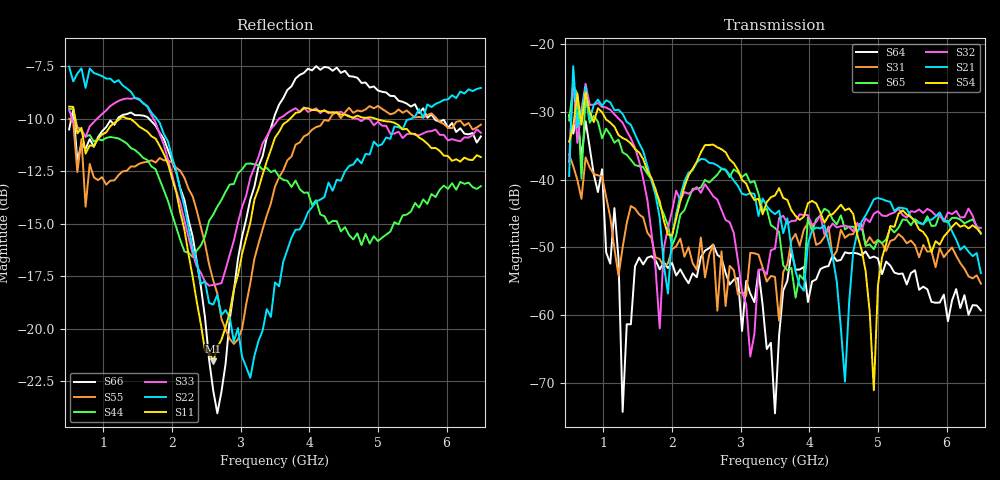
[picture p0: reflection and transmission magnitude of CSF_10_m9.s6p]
!Keysight Technologies,M9804A,MY58100912,A.14.10.03
!Date: Thursday, April 27, 2023 10:28:33
!Correction: S11(C  6-Port  )
!S12(C  6-Port  )
!S13(C  6-Port  )
!S14(C  6-Port  )
!S15(C  6-Port  )
!S16(C  6-Port  )
!S21(C  6-Port  )
!S22(C  6-Port  )
!S23(C  6-Port  )
!S24(C  6-Port  )
!S25(C  6-Port  )
!S26(C  6-Port  )
!S31(C  6-Port  )
!S32(C  6-Port  )
!S33(C  6-Port  )
!S34(C  6-Port  )
!S35(C  6-Port  )
!S36(C  6-Port  )
!S41(C  6-Port  )
!S42(C  6-Port  )
!S43(C  6-Port  )
!S44(C  6-Port  )
!S45(C  6-Port  )
!S46(C  6-Port  )
!S51(C  6-Port  )
!S52(C  6-Port  )
!S53(C  6-Port  )
!S54(C  6-Port  )
!S55(C  6-Port  )
!S56(C  6-Port  )
!S61(C  6-Port  )
!S62(C  6-Port  )
!S63(C  6-Port  )
!S64(C  6-Port  )
!S65(C  6-Port  )
!S66(C  6-Port  )
!S6P File: Measurement: :
# Hz S  RI  R 50
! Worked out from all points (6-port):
!   101 points, 500 MHz to 6.5 GHz, reference 50 ohm
!   strongest paths, dB at 500 MHz, 2 GHz, 3.5 GHz, 5 GHz, 6.5 GHz:
!     S54: -34.4, -48.3, -42.4, -55.6, -47.9
!     S21: -39.5, -48.3, -45.1, -42.7, -53.8
!     S32: -37.3, -44.6, -50.2, -44.7, -47.1
!     S65: -31.2, -49.8, -47.2, -48.9, -48.0
!     S31: -36.3, -50.3, -54.4, -48.9, -55.4
!     S64: -30.5, -52.3, -74.5, -51.7, -59.3
!   lowest |S11| = -21.5 dB at 2.6 GHz (marker M1), VSWR 1.18, Z = 42.5 + j2.1 ohm
!   |S11| at or under -10 dB: 587.3 MHz to 1.237 GHz (650.2 MHz wide, 71.3 % of centre); 1.383 GHz to 3.717 GHz (2.334 GHz wide, 91.5 % of centre); 4.975 GHz to end of sweep
